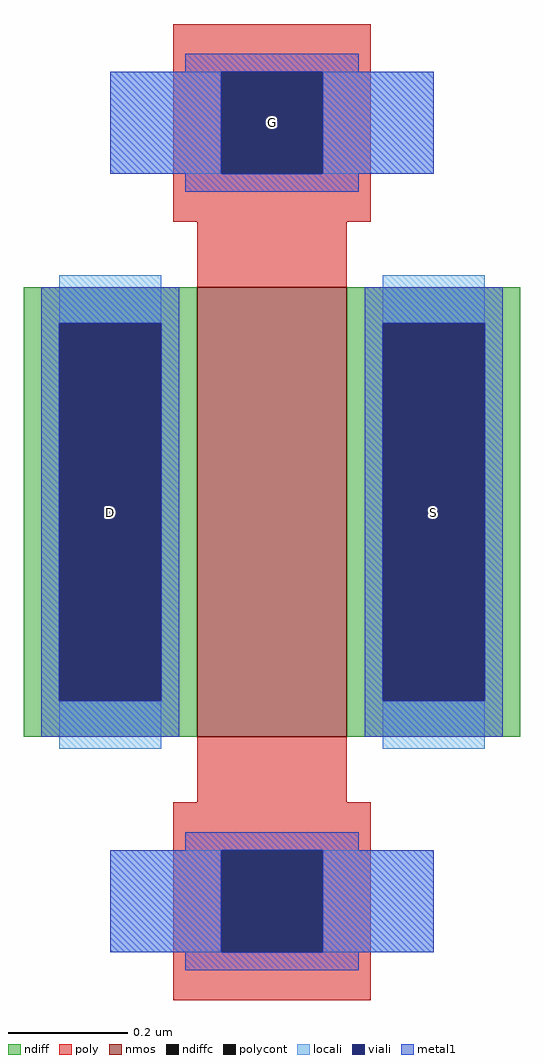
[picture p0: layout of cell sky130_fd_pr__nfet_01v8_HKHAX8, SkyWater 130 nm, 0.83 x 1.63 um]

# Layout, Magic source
magic
tech sky130A
magscale 1 2
<< nmos >>
rect -25 -75 25 75
<< ndiff >>
rect -83 63 -25 75
rect -83 -63 -71 63
rect -37 -63 -25 63
rect -83 -75 -25 -63
rect 25 63 83 75
rect 25 -63 37 63
rect 71 -63 83 63
rect 25 -75 83 -63
<< ndiffc >>
rect -71 -63 -37 63
rect 37 -63 71 63
<< poly >>
rect -33 147 33 163
rect -33 113 -17 147
rect 17 113 33 147
rect -33 97 33 113
rect -25 75 25 97
rect -25 -97 25 -75
rect -33 -113 33 -97
rect -33 -147 -17 -113
rect 17 -147 33 -113
rect -33 -163 33 -147
<< polycont >>
rect -17 113 17 147
rect -17 -147 17 -113
<< locali >>
rect -54 113 -17 147
rect 17 113 54 147
rect -71 63 -37 79
rect -71 -79 -37 -63
rect 37 63 71 79
rect 37 -79 71 -63
rect -54 -147 -17 -113
rect 17 -147 54 -113
<< viali >>
rect -17 113 17 147
rect -71 -63 -37 63
rect 37 -63 71 63
rect -17 -147 17 -113
<< metal1 >>
rect -29 147 29 153
rect -54 113 -17 147
rect 17 113 54 147
rect -29 107 29 113
rect -77 63 -31 75
rect -77 -63 -71 63
rect -37 -63 -31 63
rect -77 -75 -31 -63
rect 31 63 77 75
rect 31 -63 37 63
rect 71 -63 77 63
rect 31 -75 77 -63
rect -29 -113 29 -107
rect -54 -147 -17 -113
rect 17 -147 54 -113
rect -29 -153 29 -147
<< labels >>
rlabel ndiffc -54 0 -54 0 0 D
port 1 nsew
rlabel ndiffc 54 0 54 0 0 S
port 2 nsew
rlabel polycont 0 130 0 130 0 G
port 3 nsew
<< properties >>
string gencell sky130_fd_pr__nfet_01v8
string library sky130
string parameters w 0.75 l 0.25 m 1 nf 1 diffcov 100 polycov 100 guard 0 glc 1 grc 1 gtc 1 gbc 1 tbcov 100 rlcov 100 topc 1 botc 1 poverlap 0 doverlap 1 lmin 0.15 wmin 0.42 class mosfet compatible {sky130_fd_pr__nfet_01v8 sky130_fd_pr__nfet_01v8_lvt  sky130_fd_bs_flash__special_sonosfet_star  sky130_fd_pr__nfet_g5v0d10v5 sky130_fd_pr__nfet_05v0_nvt  sky130_fd_pr__nfet_03v3_nvt} full_metal 1 conn_gates 1 viasrc 100 viadrn 100 viagate 100 viagb 0 viagr 0 viagl 0 viagt 0 doports 1
<< end >>
